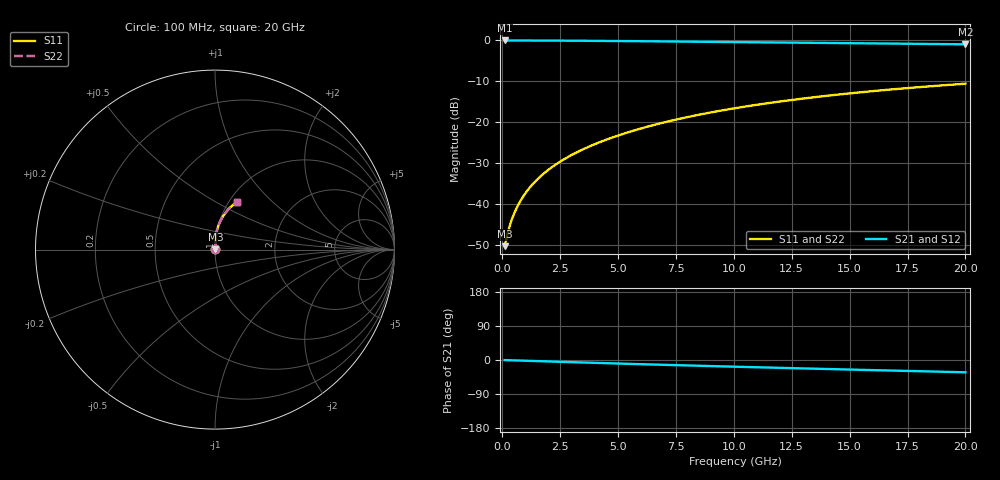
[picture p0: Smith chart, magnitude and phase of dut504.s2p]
! Touchstone file exported from HFSS 2024.1.0
!  File:  C:/UserFiles/LocalFiles/RDL_TSV_Batchsim/temp_RDL_top_504_1779679187.aedt
!  Generated:  11:21:55 AM May 25, 2026
!  Design:  RDL_top
!  Project:  temp_RDL_top_504_1779679187
!  Setup:  Setup1
!  Solution:  Sweep
! Variables:
!  dtsv = 10.80580581um
!  hbump = 3um
!  htsv = 50.08um
!  ldown = 100um
!  lrdl = 470.17um
!  p = 40
!  p1 = 44.86um
!  rhole = 1um
!  t = 450um
!  tdown = 3.915915916um
!  trdl = 3.04um
!  wdown = 15.38538539um
!  wrdl = 22.68um
# GHz S MA R 50.000000
! Terminal data exported
! Port[1] = Box2_T1
! Port[2] = Box2_T2
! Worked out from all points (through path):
!   200 points, 100 MHz to 20 GHz, reference 50 ohm
!   highest |S21| = -0.02 dB at 100 MHz (marker M1); lowest = -1.0 dB at 20 GHz (marker M2)
!   group delay of S21, straight-line fit = 4.46 ps
!   lowest |S11| = -50.3 dB at 100 MHz (marker M3), VSWR 1.01, Z = 50.3 + j0.149 ohm
!   |S11| at or under -10 dB: start of sweep to end of sweep
!   |S22| runs from -50.3 to -10.6 dB; largest |S21 - S12| = 5.4e-15
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0.1  0.003042 29.1  0.9973 -0.2  0.9973 -0.2  0.003042 29.1
! Gamma 0 0 0 0
! Port Impedance 50 0 50 0
0.2  0.004013 46.3  0.9972 -0.4  0.9972 -0.4  0.004013 46.3
0.3  0.005152 55.7  0.997 -0.6  0.997 -0.6  0.005152 55.7
0.4  0.006326 61.4  0.9968 -0.8  0.9968 -0.8  0.006326 61.4
0.5  0.007506 65.5  0.9967 -1.0  0.9967 -1.0  0.007506 65.5
0.6  0.008693 68.5  0.9965 -1.2  0.9965 -1.2  0.008693 68.5
0.8  0.01109 72.9  0.9962 -1.6  0.9962 -1.6  0.01109 72.9
1  0.01354 75.9  0.9959 -1.9  0.9959 -1.9  0.01354 75.9
1.2  0.01602 78.1  0.9955 -2.3  0.9955 -2.3  0.01602 78.1
1.7  0.02238 81.6  0.9945 -3.3  0.9945 -3.3  0.02238 81.6
2.2  0.02891 83.6  0.9932 -4.2  0.9932 -4.2  0.02892 83.6
2.8  0.03699 85.1  0.9913 -5.4  0.9913 -5.4  0.03699 85.1
3.5  0.04671 85.9  0.9886 -6.6  0.9886 -6.6  0.04671 86.0
4.2  0.05675 86.3  0.9855 -7.9  0.9855 -7.9  0.05675 86.3
5  0.06859 86.3  0.9816 -9.3  0.9816 -9.3  0.06859 86.3
6.8  0.09631 85.0  0.9719 -12.4  0.9719 -12.4  0.09632 85.0
8.4  0.1217 83.1  0.9627 -15.1  0.9627 -15.1  0.1217 83.1
10.1  0.1489 80.7  0.9528 -17.8  0.9528 -17.8  0.1489 80.7
11.7  0.1742 78.2  0.9434 -20.3  0.9434 -20.3  0.1742 78.2
13.4  0.2006 75.4  0.9334 -22.9  0.9334 -22.9  0.2006 75.5
16.7  0.2496 70.1  0.9141 -27.7  0.9141 -27.7  0.2496 70.1
20  0.295 65.0  0.8947 -32.4  0.8947 -32.4  0.295 65.0
